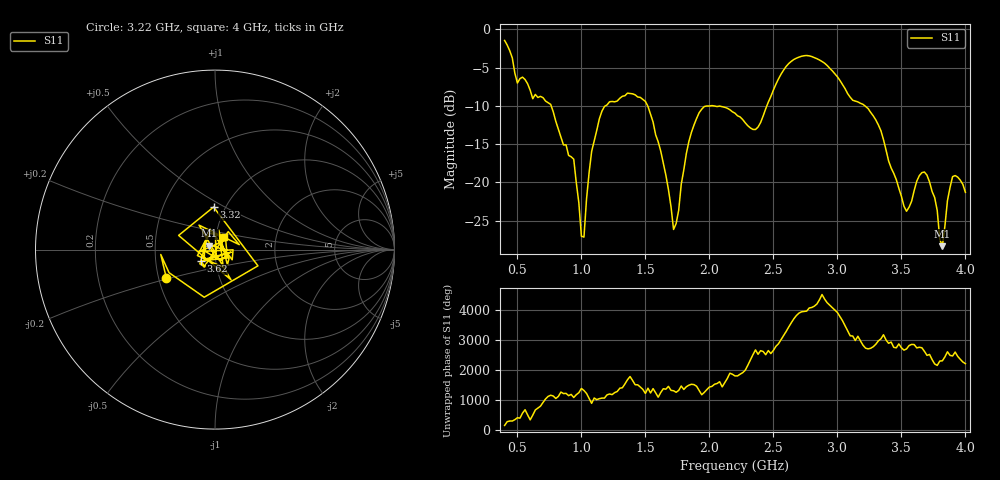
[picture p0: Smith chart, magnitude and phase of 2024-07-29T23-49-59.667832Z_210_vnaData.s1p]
!Created with skrf (http://scikit-rf.org).
# Hz S RI R 50.0
!freq ReS11 ImS11
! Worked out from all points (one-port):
!   181 points, 400 MHz to 4 GHz, reference 50 ohm
!   lowest |S11| = -28.3 dB at 3.82 GHz (marker M1), VSWR 1.08, Z = 46.9 + j1.99 ohm
!   |S11| at or under -10 dB: 763.9 MHz to 1.188 GHz (424.4 MHz wide, 43.5 % of centre); 1.518 GHz to 2.01 GHz (491.8 MHz wide, 27.9 % of centre); 3.215 GHz to end of sweep (the widest 3 of 4)
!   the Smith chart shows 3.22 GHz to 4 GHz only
!   S11 on the Smith chart (normalised r, x): 3.22 GHz: 0.55, -0.19; 3.32 GHz: 0.88, +0.44; 3.62 GHz: 0.85, -0.11; 4 GHz: 1.10, +0.15
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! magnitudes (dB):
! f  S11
! 400 MHz  -1.5
! 500 MHz  -7.0
! 760 MHz  -9.8
! 860 MHz  -15.1
! 940 MHz  -17.0
! 1 GHz  -27.0
! 1.02 GHz  -27.1
! 1.08 GHz  -16.0
! 1.14 GHz  -11.7
! 1.3 GHz  -9.0
! 1.5 GHz  -9.4
! 1.62 GHz  -15.9
! 1.72 GHz  -26.1
! 1.76 GHz  -23.6
! 1.82 GHz  -16.2
! 1.92 GHz  -10.9
! 2.2 GHz  -11.0
! 2.36 GHz  -13.1
! 2.66 GHz  -3.9
! 3.1 GHz  -8.9
! 3.22 GHz  -10.1
! 3.32 GHz  -12.5
! 3.56 GHz  -23.2
! 3.62 GHz  -19.8
! 3.7 GHz  -19.1
! 3.82 GHz  -28.3
! 3.9 GHz  -19.2
! 4 GHz  -21.3
